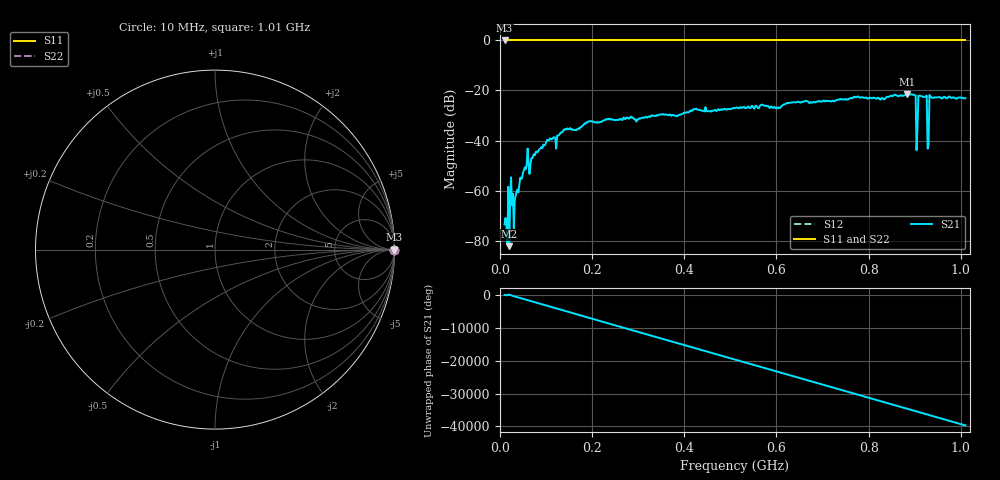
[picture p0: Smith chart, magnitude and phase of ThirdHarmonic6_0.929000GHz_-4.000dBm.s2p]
! 8/16/2025 6:17:21 AM
! C:\ANRITSUVNA\TEMP\TEMP.S2P
! CHANNEL.1
! TR.MEASUREMENT
! RAW.DATA
! RF.CORRECTION.OFF
! AVERAGING.OFF
! IF.BANDWIDTH: 5KHZ
! SWEEPTYPE:  FREQ.SWEEP(Linear)
! Reference Plane Port Info
! PORT:  PORT1  PORT2
! DISTANCE:  0  m  0  m
! TIME:  0  s  0  s
! PHASE.OFFSET:  0  deg.  0  deg.
! LOSS:  0  dB  0  dB
! REF.LOSS:  0  dB  0  dB
! REF.FREQ:  0  Hz  0  Hz
! Power Info
! POWER:  -20  dBm  -20  dBm
! EFF.POWER:  -20  dBm  -20  dBm
! SOURCE.ATTEN:  0  dB  0  dB
! TEST.ATTEN:  0  dB  0  dB
# GHZ S RI R 50.0
! FREQ.GHZ  S11RE  S11IM  S21RE  S21IM  S12RE  S12IM  S22RE  S22IM
!; PortSelection: Port_12
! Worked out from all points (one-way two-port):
!   501 points, 10 MHz to 1.01 GHz, reference 50 ohm
!   highest |S21| = -21.36 dB at 884 MHz (marker M1); lowest = -82.2 dB at 20 MHz (marker M2)
!   lowest |S11| = 0.0 dB at 10 MHz (marker M3)
!   |S11| at or under -10 dB: nowhere
!   |S22| runs from 0.0 to 0.0 dB; largest |S21 - S12| = 1.1
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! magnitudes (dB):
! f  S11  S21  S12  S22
! 10 MHz  0.0  -73.5  0.0  0.0
! 16 MHz  0.0  -81.5  0.0  0.0
! 20 MHz  0.0  -82.2  0.0  0.0
! 22 MHz  0.0  -65.4  0.0  0.0
! 34 MHz  0.0  -62.0  0.0  0.0
! 58 MHz  0.0  -49.4  0.0  0.0
! 106 MHz  0.0  -39.9  0.0  0.0
! 178 MHz  0.0  -34.3  0.0  0.0
! 344 MHz  0.0  -29.9  0.0  0.0
! 510 MHz  0.0  -27.1  0.0  0.0
! 678 MHz  0.0  -24.9  0.0  0.0
! 844 MHz  0.0  -22.5  0.0  0.0
! 884 MHz  0.0  -21.4  0.0  0.0
! 898 MHz  0.0  -21.7  0.0  0.0
! 902 MHz  0.0  -22.0  0.0  0.0
! 906 MHz  0.0  -35.0  0.0  0.0
! 912 MHz  0.0  -22.1  0.0  0.0
! 922 MHz  0.0  -22.6  0.0  0.0
! 926 MHz  0.0  -22.0  0.0  0.0
! 932 MHz  0.0  -21.8  0.0  0.0
! 936 MHz  0.0  -22.7  0.0  0.0
! 1.01 GHz  0.0  -23.1  0.0  0.0
